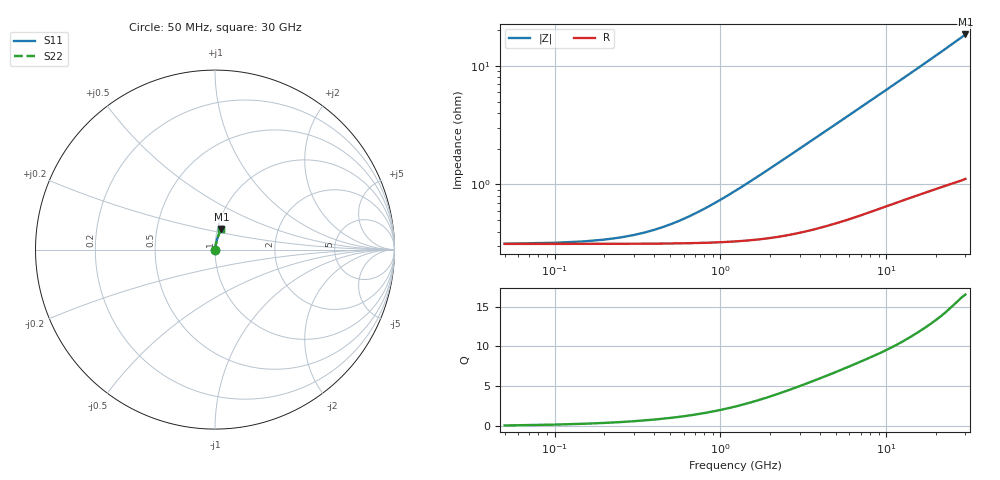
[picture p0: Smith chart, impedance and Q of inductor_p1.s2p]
#  Hz  S  RI  R  50
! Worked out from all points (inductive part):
!   600 points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, 50 MHz to 30 GHz, reference 50 ohm
!   read as 1/Y11, port 2 shorted: L = 105 pH near 1.55 GHz
!   highest Q = 16.5 at 30 GHz (marker M1), where L = 97.4 pH
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5e7  0.00272 0.000197  0.9964 -0.000466  0.9965 -0.000467  0.00271 0.000198
2e8  0.00272 0.000789  0.9964 -0.00186  0.9964 -0.00187  0.00271 0.000792
3.5e8  0.00271 0.00138  0.9964 -0.00326  0.9964 -0.00326  0.0027 0.00139
5.5e8  0.00269 0.00218  0.9963 -0.00511  0.9963 -0.00512  0.00268 0.00218
1.1e9  0.00261 0.0044  0.996 -0.0101  0.996 -0.0101  0.00261 0.00441
1.45e9  0.00255 0.00585  0.9957 -0.0133  0.9957 -0.0133  0.00255 0.00587
1.9e9  0.00249 0.00777  0.9952 -0.0172  0.9952 -0.0172  0.00249 0.00778
2.4e9  0.00246 0.00996  0.9947 -0.0214  0.9947 -0.0214  0.00246 0.00996
2.95e9  0.0025 0.0124  0.994 -0.0259  0.994 -0.0259  0.00251 0.0124
3.6e9  0.00268 0.0153  0.9934 -0.031  0.9934 -0.031  0.00268 0.0153
4.3e9  0.00301 0.0184  0.9927 -0.0365  0.9927 -0.0365  0.00301 0.0184
5.05e9  0.00348 0.0217  0.992 -0.0424  0.992 -0.0424  0.00348 0.0217
6.05e9  0.00423 0.0259  0.9912 -0.0502  0.9912 -0.0502  0.00422 0.0259
7.2e9  0.00515 0.0306  0.9901 -0.0591  0.9901 -0.0591  0.00514 0.0306
8.55e9  0.00627 0.036  0.9887 -0.0696  0.9887 -0.0696  0.00627 0.036
1.005e10  0.00762 0.042  0.987 -0.0811  0.987 -0.0811  0.00762 0.042
1.235e10  0.00993 0.0509  0.9843 -0.0987  0.9843 -0.0987  0.00993 0.0509
1.505e10  0.0129 0.0612  0.9807 -0.1191  0.9807 -0.1191  0.0129 0.0612
1.745e10  0.0159 0.0701  0.9771 -0.1371  0.9771 -0.1371  0.0159 0.0701
2.005e10  0.0194 0.0797  0.9729 -0.1566  0.9729 -0.1566  0.0194 0.0797
2.505e10  0.0271 0.0977  0.9636 -0.1936  0.9636 -0.1936  0.0271 0.0977
3e10  0.0359 0.1149  0.9525 -0.2297  0.9525 -0.2297  0.0359 0.1149
